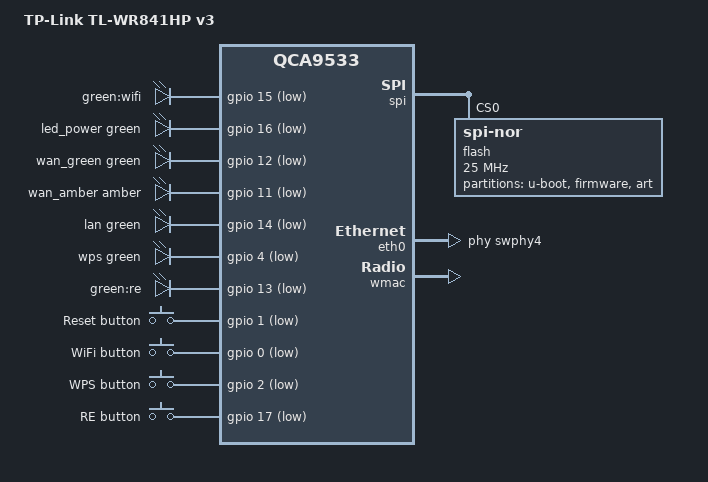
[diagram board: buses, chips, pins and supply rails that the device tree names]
// SPDX-License-Identifier: GPL-2.0-or-later OR MIT

#include "qca953x.dtsi"

#include <dt-bindings/gpio/gpio.h>
#include <dt-bindings/input/input.h>
#include <dt-bindings/leds/common.h>

/ {
	compatible = "tplink,tl-wr841hp-v3", "qca,qca9533";
	model = "TP-Link TL-WR841HP v3";

	aliases {
		label-mac-device = &wmac;
		led-boot = &led_power;
		led-failsafe = &led_power;
		led-running = &led_power;
		led-upgrade = &led_power;
	};

	leds {
		compatible = "gpio-leds";

		wifi {
			label = "green:wifi";
			gpios = <&gpio 15 GPIO_ACTIVE_LOW>;
			linux,default-trigger = "phy0tpt";
		};

		led_power: power {
			function = LED_FUNCTION_POWER;
			color = <LED_COLOR_ID_GREEN>;
			gpios = <&gpio 16 GPIO_ACTIVE_LOW>;
			default-state = "on";
		};

		wan_green {
			function = LED_FUNCTION_WAN;
			color = <LED_COLOR_ID_GREEN>;
			gpios = <&gpio 12 GPIO_ACTIVE_LOW>;
		};

		wan_amber {
			function = LED_FUNCTION_WAN;
			color = <LED_COLOR_ID_AMBER>;
			gpios = <&gpio 11 GPIO_ACTIVE_LOW>;
		};

		lan {
			function = LED_FUNCTION_LAN;
			color = <LED_COLOR_ID_GREEN>;
			gpios = <&gpio 14 GPIO_ACTIVE_LOW>;
		};

		wps {
			function = LED_FUNCTION_WPS;
			color = <LED_COLOR_ID_GREEN>;
			gpios = <&gpio 4 GPIO_ACTIVE_LOW>;
		};

		re {
			label = "green:re";
			gpios = <&gpio 13 GPIO_ACTIVE_LOW>;
		};
	};

	keys {
		compatible = "gpio-keys";

		reset {
			label = "Reset button";
			linux,code = <KEY_RESTART>;
			gpios = <&gpio 1 GPIO_ACTIVE_LOW>;
			debounce-interval = <60>;
		};

		wifi {
			label = "WiFi button";
			linux,code = <KEY_RFKILL>;
			gpios = <&gpio 0 GPIO_ACTIVE_LOW>;
			debounce-interval = <60>;
		};

		wps {
			label = "WPS button";
			linux,code = <KEY_WPS_BUTTON>;
			gpios = <&gpio 2 GPIO_ACTIVE_LOW>;
			debounce-interval = <60>;
		};

		re {
			label = "RE button";
			linux,code = <BTN_0>;
			gpios = <&gpio 17 GPIO_ACTIVE_LOW>;
			debounce-interval = <60>;
		};
	};
};

&spi {
	status = "okay";

	flash@0 {
		compatible = "jedec,spi-nor";
		reg = <0>;
		spi-max-frequency = <25000000>;

		partitions {
			compatible = "fixed-partitions";
			#address-cells = <1>;
			#size-cells = <1>;

			uboot: partition@0 {
				label = "u-boot";
				reg = <0x000000 0x020000>;
				read-only;

				nvmem-layout {
					compatible = "fixed-layout";
					#address-cells = <1>;
					#size-cells = <1>;

					macaddr_uboot_1fc00: macaddr@1fc00 {
						compatible = "mac-base";
						reg = <0x1fc00 0x6>;
						#nvmem-cell-cells = <1>;
					};
				};
			};

			partition@20000 {
				compatible = "tplink,firmware";
				label = "firmware";
				reg = <0x020000 0x7d0000>;
			};

			partition@7f0000 {
				label = "art";
				reg = <0x7f0000 0x010000>;
				read-only;

				nvmem-layout {
					compatible = "fixed-layout";
					#address-cells = <1>;
					#size-cells = <1>;

					cal_art_1000: calibration@1000 {
						reg = <0x1000 0x440>;
					};
				};
			};
		};
	};
};

&eth0 {
	status = "okay";

	phy-handle = <&swphy4>;

	nvmem-cells = <&macaddr_uboot_1fc00 1>;
	nvmem-cell-names = "mac-address";
};

&eth1 {
	nvmem-cells = <&macaddr_uboot_1fc00 0>;
	nvmem-cell-names = "mac-address";
};

&wmac {
	status = "okay";

	nvmem-cells = <&macaddr_uboot_1fc00 0>, <&cal_art_1000>;
	nvmem-cell-names = "mac-address", "calibration";
};
